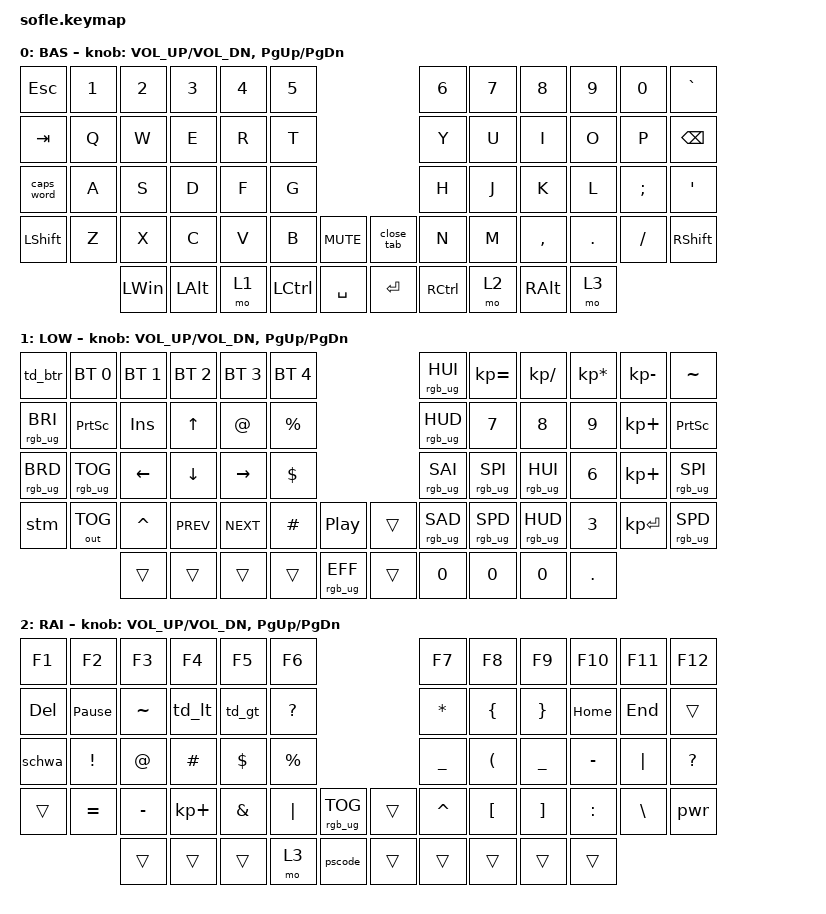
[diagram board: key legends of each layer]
/*
 * Copyright (c) 2020 The ZMK Contributors
 *
 * SPDX-License-Identifier: MIT
 */

#include <behaviors.dtsi>
#include <dt-bindings/zmk/bt.h>
#include <dt-bindings/zmk/ext_power.h>
#include <dt-bindings/zmk/keys.h>

/ {
    keymap {
        compatible = "zmk,keymap";

        default_layer {
            display-name = "BAS";
            // ------------------------------------------------------------------------------------------------------------
            // |  `    |  1  |  2  |  3   |  4   |  5   |                   |  6   |  7    |  8    |  9   |   0   |       |
            // |  ESC  |  Q  |  W  |  E   |  R   |  T   |                   |  Y   |  U    |  I    |  O   |   P   | BKSPC |
            // |  TAB  |  A  |  S  |  D   |  F   |  G   |                   |  H   |  J    |  K    |  L   |   ;   |   '   |
            // | SHIFT |  Z  |  X  |  C   |  V   |  B   |  MUTE  |  |       |  N   |  M    |  ,    |  .   |   /   | SHIFT |
            //               | GUI | ALT  | CTRL | LOWER|  ENTER |  | SPACE | RAISE| CTRL  | ALT   | GUI  |

            bindings = <
&kp ESC         &kp N1  &kp N2        &kp N3    &kp N4  &kp N5                                      &kp N6             &kp N7  &kp N8     &kp N9   &kp N0    &kp GRAVE
&kp TAB         &kp Q   &kp W         &kp E     &kp R   &kp T                                       &kp Y              &kp U   &kp I      &kp O    &kp P     &kp BACKSPACE
&caps_word      &kp A   &kp S         &kp D     &kp F   &kp G                                       &kp H              &kp J   &kp K      &kp L    &kp SEMI  &kp SQT
&kp LEFT_SHIFT  &kp Z   &kp X         &kp C     &kp V   &kp B             &kp C_MUTE    &close_tab  &kp N              &kp M   &kp COMMA  &kp DOT  &kp FSLH  &kp RIGHT_SHIFT
                        &kp LEFT_WIN  &kp LALT  &mo 1   &kp LEFT_CONTROL  &kp SPACE     &kp ENTER   &kp RIGHT_CONTROL  &mo 2   &kp RALT   &mo 3
            >;

            sensor-bindings = <&inc_dec_kp C_VOL_UP C_VOL_DN &inc_dec_kp PG_UP PG_DN>;
        };

        lower_layer {
            display-name = "LOW";
            // ------------------------------------------------------------------------------------------------------------
            // | `     |  F1 |  F2 |  F3  |  F4  |  F5  |                   |  F6  |  F7   |  F8   |  F9  |  F10  |  F11  |
            // | RAISE |   1 |   2 |   3  |   4  |   5  |                   |   6  |   7   |   8   |   9  |    0  |  F12  |
            // |       |  !  |  @  |  #   |  $   |  %   |                   |  ^   |  &    |  *    |  (   |   )   |   |   |
            // |       |  =  |  -  |  +   |  {   |  }   |        |  |       |  [   |  ]    |  ;    |  :   |   \   |       |
            //               |     |      |      |      |        |  |       |      |       |       |      |

            bindings = <
&td_btr          &bt BT_SEL 0     &bt BT_SEL 1  &bt BT_SEL 2  &bt BT_SEL 3  &bt BT_SEL 4                              &rgb_ug RGB_HUI  &kp KP_EQUAL     &kp KP_DIVIDE    &kp KP_MULTIPLY  &kp KP_MINUS  &kp TILDE
&rgb_ug RGB_BRI  &kp PSCRN        &kp INS       &kp UP        &kp AT        &kp PRCNT                                 &rgb_ug RGB_HUD  &kp N7           &kp N8           &kp N9           &kp KP_PLUS   &kp PRINTSCREEN
&rgb_ug RGB_BRD  &rgb_ug RGB_TOG  &kp LEFT      &kp DOWN      &kp RIGHT     &kp DLLR                                  &rgb_ug RGB_SAI  &rgb_ug RGB_SPI  &rgb_ug RGB_HUI  &kp N6           &kp KP_PLUS   &rgb_ug RGB_SPI
&stm             &out OUT_TOG     &kp CARET     &kp C_PREV    &kp C_NEXT    &kp HASH      &kp C_PLAY_PAUSE    &trans  &rgb_ug RGB_SAD  &rgb_ug RGB_SPD  &rgb_ug RGB_HUD  &kp N3           &kp KP_ENTER  &rgb_ug RGB_SPD
                                  &trans        &trans        &trans        &trans        &rgb_ug RGB_EFF     &trans  &kp N0           &kp N0           &kp N0           &kp DOT
            >;

            sensor-bindings = <&inc_dec_kp C_VOL_UP C_VOL_DN &inc_dec_kp PG_UP PG_DN>;
        };

        raise_layer {
            display-name = "RAI";
            // ------------------------------------------------------------------------------------------------------------
            // |BTCLR| BT1  | BT2  |  BT3  |  BT4  |  BT5 |                |      |      |       |      |       |       |
            // |     | INS  | PSCR | GUI   |       |      |                | PGUP |      |       |      |       |       |
            // |     | ALT  | CTRL | SHIFT |       | CAPS |                |  <-  |   v  |   ^   |  ->  |  DEL  | BKSPC |
            // |     | UNDO | CUT  | COPY  | PASTE |      |      |  |      |      |      |       |      |       |       |
            //              |      |       |       |      |      |  |      |      |      |       |      |

            bindings = <
&kp F1   &kp F2           &kp F3     &kp F4       &kp F5    &kp F6                                &kp F7     &kp F8    &kp F9          &kp F10    &kp F11   &kp F12
&kp DEL  &kp PAUSE_BREAK  &kp TILDE  &td_lt       &td_gt    &kp QMARK                             &kp ASTRK  &kp LBRC  &kp RBRC        &kp HOME   &kp END   &trans
&schwa   &kp EXCL         &kp AT     &kp HASH     &kp DLLR  &kp PRCNT                             &kp UNDER  &kp LPAR  &kp UNDERSCORE  &kp MINUS  &kp PIPE  &kp QUESTION
&trans   &kp EQUAL        &kp MINUS  &kp KP_PLUS  &kp AMPS  &kp PIPE   &rgb_ug RGB_TOG    &trans  &kp CARET  &kp LBKT  &kp RBKT        &kp COLON  &kp BSLH  &pwr
                          &trans     &trans       &trans    &mo 3      &pscode            &trans  &trans     &trans    &trans          &trans
            >;

            sensor-bindings = <&inc_dec_kp C_VOL_UP C_VOL_DN &inc_dec_kp PG_UP PG_DN>;
        };
    };
}; 
